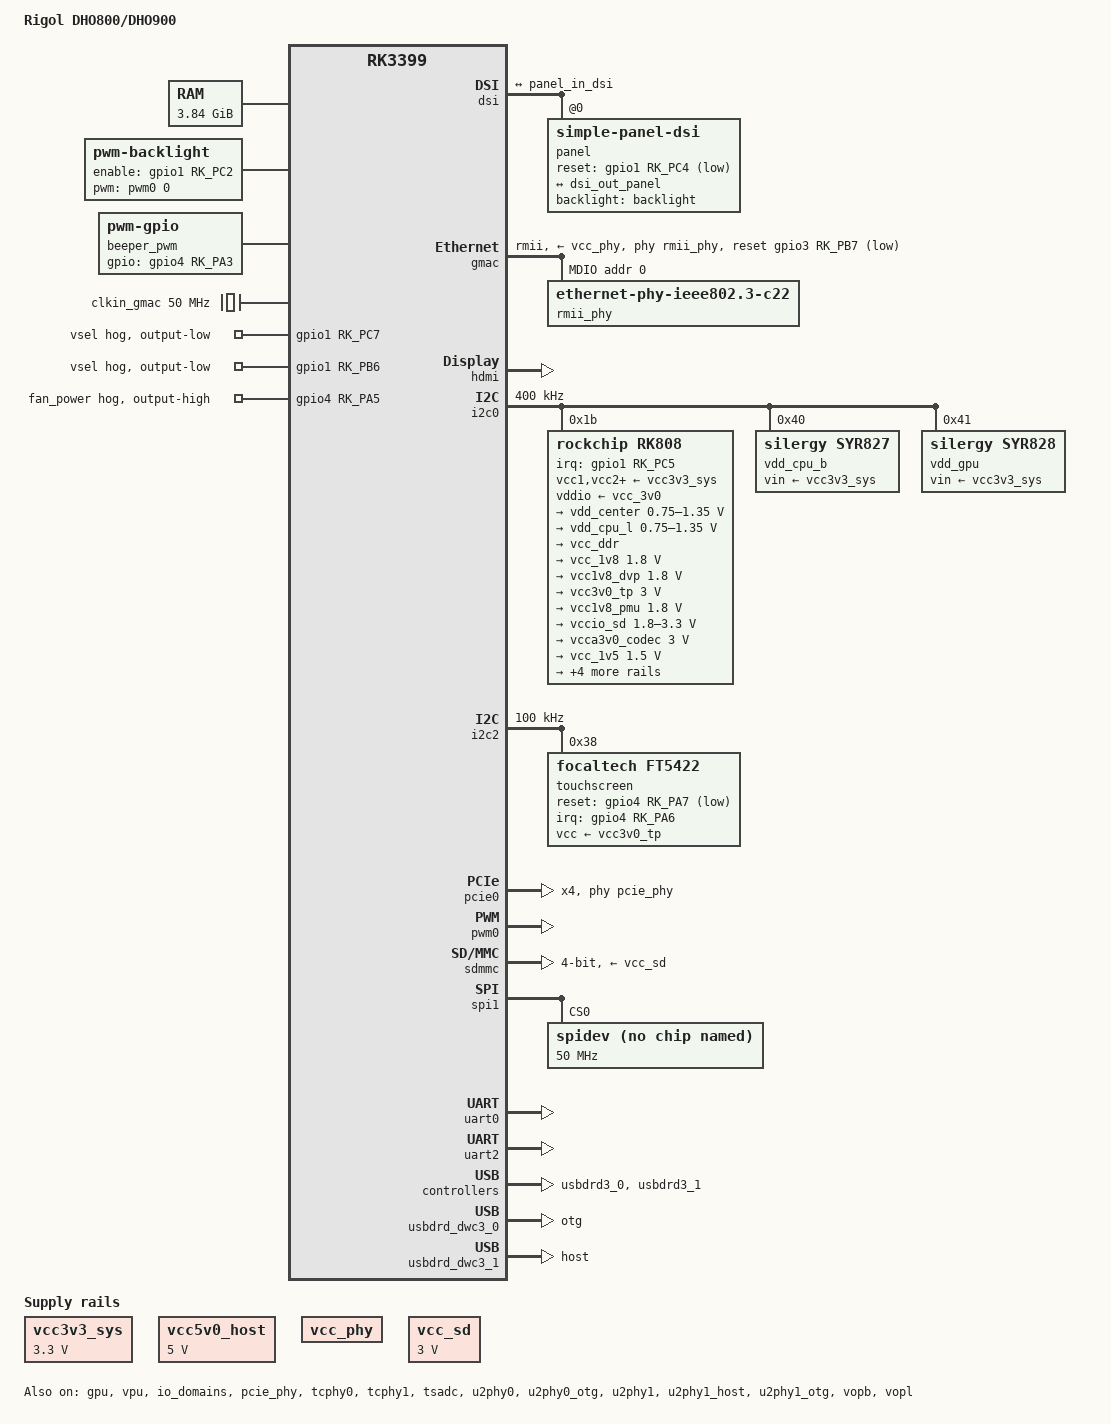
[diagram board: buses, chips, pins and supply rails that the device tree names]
// SPDX-License-Identifier: (GPL-2.0+ OR MIT)
/*
 * Copyright (C) 2026 Julian Decker
 *
 * Rigol DHO800/DHO900 oscilloscope main board (RK3399).
 */

/dts-v1/;

#include <dt-bindings/display/drm_mipi_dsi.h>
#include "rk3399.dtsi"

/*
 * Peripherals on GPLL, so CPLL and VPLL stay free for the two VOPs. This is the
 * clock plan of the stock system.
 */
#define RK3399_TWO_PLL_FOR_VOP
#include "rk3399-vop-clk-set.dtsi"

/*
 * Video and camera blocks: nothing on this board uses them, except the VPU's JPEG encoder (Hantro, V4L2) for the live
 * picture of the web remote. Its registers are shared with the BSP's vepu/vdpu nodes, which stay deleted.
 */
/delete-node/ &mpp_srv;
/delete-node/ &vepu;
/delete-node/ &vdpu;
/delete-node/ &vdec;
/delete-node/ &rkvdec;
/delete-node/ &vdec_mmu;
/delete-node/ &iep;
/delete-node/ &iep_mmu;
/delete-node/ &rga;
/delete-node/ &rkisp1_0;
/delete-node/ &rkisp1_1;
/delete-node/ &isp0;
/delete-node/ &isp1;
/delete-node/ &isp0_mmu;
/delete-node/ &isp1_mmu;
/delete-node/ &mipi_dphy_rx0;
/delete-node/ &mipi_dphy_tx1rx1;

/ {
	model = "Rigol DHO800/DHO900";
	compatible = "rigol,dho900", "rockchip,rk3399";

	aliases {
		/* The card holds the system and the tools expect it as mmcblk0. */
		mmc0 = &sdmmc;
		mmc1 = &sdhci;
		/* Fixes the bus number, so the FPGA boot port is /dev/spidev1.0. */
		spi1 = &spi1;
	};

	chosen {
		bootargs = "earlycon=uart8250,mmio32,0xff1a0000 console=ttyS2,115200n8 panic=10 rootwait";
		stdout-path = "serial2:115200n8";
	};

	/* The gap between the two banks is the trust OS region. */
	memory {
		device_type = "memory";
		reg = <0x0 0x00200000 0x0 0x08200000>,
		      <0x0 0x0a200000 0x0 0xede00000>;
	};

	reserved-memory {
		#address-cells = <2>;
		#size-cells = <2>;
		ranges;

		drm_logo: drm-logo@0 {
			compatible = "rockchip,drm-logo";
			reg = <0x0 0x0 0x0 0x0>;
		};

		ramoops@110000 {
			compatible = "ramoops";
			reg = <0x0 0x110000 0x0 0xe0000>;
			record-size = <0x20000>;
			console-size = <0x80000>;
			ftrace-size = <0x0>;
			pmsg-size = <0x40000>;
		};

		trust-os@8400000 {
			reg = <0x0 0x08400000 0x0 0x01e00000>;
			no-map;
		};
	};

	backlight: backlight {
		compatible = "pwm-backlight";
		pwms = <&pwm0 0 25000 0>;
		enable-gpios = <&gpio1 RK_PC2 GPIO_ACTIVE_HIGH>;
		num-interpolated-steps = <255>;
		brightness-levels = <0 255>;
		default-brightness-level = <255>;
	};

	/*
	 * The hal looks the pwmchip up by the name of its device, so this node
	 * must keep the name "pwm-gpio".
	 */
	beeper_pwm: pwm-gpio {
		compatible = "pwm-gpio";
		gpios = <&gpio4 RK_PA3 GPIO_ACTIVE_HIGH>;
		#pwm-cells = <3>;
	};

	clkin_gmac: external-gmac-clock {
		compatible = "fixed-clock";
		clock-frequency = <50000000>;
		clock-output-names = "clkin_gmac";
		#clock-cells = <0>;
	};

	/*
	 * On/off only and no tachometer, so the speed is nominal. Disabled
	 * because fan-power-hog in &gpio4 owns the line, see there.
	 */
	fan: gpio-fan {
		compatible = "gpio-fan";
		gpios = <&gpio4 RK_PA5 GPIO_ACTIVE_HIGH>;
		gpio-fan,speed-map = <0 0>, <3000 1>;
		#cooling-cells = <2>;
		status = "disabled";
	};

	vcc3v3_sys: vcc3v3-sys {
		compatible = "regulator-fixed";
		regulator-name = "vcc3v3_sys";
		regulator-always-on;
		regulator-boot-on;
		regulator-min-microvolt = <3300000>;
		regulator-max-microvolt = <3300000>;
	};

	vcc5v0_host: vcc5v0-host-regulator {
		compatible = "regulator-fixed";
		regulator-name = "vcc5v0_host";
		regulator-always-on;
		regulator-boot-on;
		regulator-min-microvolt = <5000000>;
		regulator-max-microvolt = <5000000>;
	};

	vcc_phy: vcc-phy-regulator {
		compatible = "regulator-fixed";
		regulator-name = "vcc_phy";
		regulator-always-on;
		regulator-boot-on;
	};

	vcc_sd: vcc-sd {
		compatible = "regulator-fixed";
		regulator-name = "vcc_sd";
		regulator-always-on;
		regulator-boot-on;
		regulator-min-microvolt = <3000000>;
		regulator-max-microvolt = <3000000>;
	};
};

&cpu_l0 {
	cpu-supply = <&vdd_cpu_l>;
};

&cpu_l1 {
	cpu-supply = <&vdd_cpu_l>;
};

&cpu_l2 {
	cpu-supply = <&vdd_cpu_l>;
};

&cpu_l3 {
	cpu-supply = <&vdd_cpu_l>;
};

&cpu_b0 {
	cpu-supply = <&vdd_cpu_b>;
};

&cpu_b1 {
	cpu-supply = <&vdd_cpu_b>;
};

/*
 * Extra voltages for the "J" bin of the RK3399. They apply only if the efuse
 * says bin 2, which the opp tables of the BSP do not handle.
 */
&cluster0_opp {
	rockchip,bin-scaling-sel = <0 30>, <1 34>, <2 46>;
	rockchip,bin-voltage-sel = <2 20>;

	opp-408000000 {
		opp-microvolt-L20 = <875000 875000 1250000>;
	};

	opp-600000000 {
		opp-microvolt-L20 = <875000 875000 1250000>;
	};

	opp-816000000 {
		opp-microvolt-L20 = <900000 900000 1250000>;
	};

	opp-1008000000 {
		opp-microvolt-L20 = <975000 975000 1250000>;
	};
};

&cluster1_opp {
	rockchip,bin-scaling-sel = <0 8>, <1 17>, <2 30>;
	rockchip,bin-voltage-sel = <2 20>;

	opp-408000000 {
		opp-microvolt-L20 = <875000 875000 1250000>;
	};

	opp-600000000 {
		opp-microvolt-L20 = <875000 875000 1250000>;
	};

	opp-816000000 {
		opp-microvolt-L20 = <875000 875000 1250000>;
	};

	opp-1008000000 {
		opp-microvolt-L20 = <925000 925000 1250000>;
	};

	opp-1200000000 {
		opp-microvolt-L20 = <1000000 1000000 1250000>;
	};

	opp-1416000000 {
		opp-microvolt-L20 = <1075000 1075000 1250000>;
	};
};

&display_subsystem {
	ports = <&vopb_out>, <&vopl_out>;
	logo-memory-region = <&drm_logo>;

	route {
		route-dsi {
			connect = <&vopl_out_dsi>;
			logo,uboot = "logo.bmp";
			logo,kernel = "logo_kernel.bmp";
			logo,mode = "center";
			charge_logo,mode = "center";
		};

		route-hdmi {
			connect = <&vopb_out_hdmi>;
			logo,uboot = "logo.bmp";
			logo,kernel = "logo_kernel.bmp";
			logo,mode = "center";
			charge_logo,mode = "center";
		};
	};
};

/* The panel stays on the little VOP and HDMI on the big one. */
&dsi_in_vopb {
	status = "disabled";
};

&hdmi_in_vopl {
	status = "disabled";
};

&dsi {
	status = "okay";

	/* The panel ID 93 65 04 makes this a Jadard JD9365. */
	panel: panel@0 {
		compatible = "simple-panel-dsi";
		reg = <0>;
		backlight = <&backlight>;
		reset-gpios = <&gpio1 RK_PC4 GPIO_ACTIVE_LOW>;
		prepare-delay-ms = <10>;
		reset-delay-ms = <20>;
		init-delay-ms = <10>;
		enable-delay-ms = <120>;
		unprepare-delay-ms = <120>;
		dsi,flags = <(MIPI_DSI_MODE_VIDEO | MIPI_DSI_MODE_VIDEO_BURST |
			      MIPI_DSI_MODE_VIDEO_NO_HBP | MIPI_DSI_MODE_NO_EOT_PACKET |
			      MIPI_DSI_MODE_LPM)>;
		dsi,format = <MIPI_DSI_FMT_RGB888>;
		dsi,lanes = <4>;

		/*
		 * Each entry is: data type, delay in ms, length, payload.
		 * Register E0 selects a page, so a block starts at each page.
		 */
		panel-init-sequence = [
			15 00 02 e0 00  15 00 02 e1 93  15 00 02 e2 65  15 00 02 e3 f8
			15 00 02 80 03

			15 00 02 e0 01  15 00 02 00 00  15 00 02 01 25  15 00 02 03 00
			15 00 02 04 30  15 00 02 0c 74  15 00 02 17 00  15 00 02 18 c7
			15 00 02 19 01  15 00 02 1a 00  15 00 02 1b c7  15 00 02 1c 01
			15 00 02 24 fe  15 00 02 37 19  15 00 02 35 28  15 00 02 38 05
			15 00 02 39 08  15 00 02 3a 12  15 00 02 3c 7e  15 00 02 3d ff
			15 00 02 3e ff  15 00 02 3f 7f  15 00 02 40 06  15 00 02 41 a0
			15 00 02 43 1e  15 00 02 44 0b  15 00 02 55 02  15 00 02 57 6a
			15 00 02 59 0a  15 00 02 5a 2e  15 00 02 5b 1a  15 00 02 5c 15
			15 00 02 5d 7f  15 00 02 5e 61  15 00 02 5f 50  15 00 02 60 43
			15 00 02 61 3f  15 00 02 62 32  15 00 02 63 35  15 00 02 64 1f
			15 00 02 65 38  15 00 02 66 36  15 00 02 67 36  15 00 02 68 54
			15 00 02 69 42  15 00 02 6a 48  15 00 02 6b 39  15 00 02 6c 34
			15 00 02 6d 26  15 00 02 6e 14  15 00 02 6f 02  15 00 02 70 7f
			15 00 02 71 61  15 00 02 72 50  15 00 02 73 43  15 00 02 74 3f
			15 00 02 75 32  15 00 02 76 35  15 00 02 77 1f  15 00 02 78 38
			15 00 02 79 36  15 00 02 7a 36  15 00 02 7b 54  15 00 02 7c 42
			15 00 02 7d 48  15 00 02 7e 39  15 00 02 7f 34  15 00 02 80 26
			15 00 02 81 14  15 00 02 82 02

			15 00 02 e0 02  15 00 02 00 52  15 00 02 01 5f  15 00 02 02 5f
			15 00 02 03 50  15 00 02 04 77  15 00 02 05 57  15 00 02 06 5f
			15 00 02 07 4e  15 00 02 08 4c  15 00 02 09 5f  15 00 02 0a 4a
			15 00 02 0b 48  15 00 02 0c 5f  15 00 02 0d 46  15 00 02 0e 44
			15 00 02 0f 40  15 00 02 10 5f  15 00 02 11 5f  15 00 02 12 5f
			15 00 02 13 5f  15 00 02 14 5f  15 00 02 15 5f  15 00 02 16 53
			15 00 02 17 5f  15 00 02 18 5f  15 00 02 19 51  15 00 02 1a 77
			15 00 02 1b 57  15 00 02 1c 5f  15 00 02 1d 4f  15 00 02 1e 4d
			15 00 02 1f 5f  15 00 02 20 4b  15 00 02 21 49  15 00 02 22 5f
			15 00 02 23 47  15 00 02 24 45  15 00 02 25 41  15 00 02 26 5f
			15 00 02 27 5f  15 00 02 28 5f  15 00 02 29 5f  15 00 02 2a 5f
			15 00 02 2b 5f  15 00 02 2c 13  15 00 02 2d 1f  15 00 02 2e 1f
			15 00 02 2f 01  15 00 02 30 17  15 00 02 31 17  15 00 02 32 1f
			15 00 02 33 0d  15 00 02 34 0f  15 00 02 35 1f  15 00 02 36 05
			15 00 02 37 07  15 00 02 38 1f  15 00 02 39 09  15 00 02 3a 0b
			15 00 02 3b 11  15 00 02 3c 1f  15 00 02 3d 1f  15 00 02 3e 1f
			15 00 02 3f 1f  15 00 02 40 1f  15 00 02 41 1f  15 00 02 42 12
			15 00 02 43 1f  15 00 02 44 1f  15 00 02 45 00  15 00 02 46 17
			15 00 02 47 17  15 00 02 48 1f  15 00 02 49 0c  15 00 02 4a 0e
			15 00 02 4b 1f  15 00 02 4c 04  15 00 02 4d 06  15 00 02 4e 1f
			15 00 02 4f 08  15 00 02 50 0a  15 00 02 51 10  15 00 02 52 1f
			15 00 02 53 1f  15 00 02 54 1f  15 00 02 55 1f  15 00 02 56 1f
			15 00 02 57 1f  15 00 02 58 40  15 00 02 5b 10  15 00 02 5c 06
			15 00 02 5d 40  15 00 02 5e 00  15 00 02 5f 00  15 00 02 60 40
			15 00 02 61 03  15 00 02 62 04  15 00 02 63 6c  15 00 02 64 6c
			15 00 02 65 75  15 00 02 66 08  15 00 02 67 b4  15 00 02 68 08
			15 00 02 69 6c  15 00 02 6a 6c  15 00 02 6b 0c  15 00 02 6d 00
			15 00 02 6e 00  15 00 02 6f 88  15 00 02 75 bb  15 00 02 76 00
			15 00 02 77 05  15 00 02 78 2a

			15 00 02 e0 04  15 00 02 00 0e  15 00 02 02 b3  15 00 02 09 61
			15 00 02 0e 48

			15 00 02 e0 00  15 00 02 35 00  05 96 01 11  05 32 01 29
		];

		panel-exit-sequence = [
			05 32 01 28  05 64 01 10
		];

		display-timings {
			native-mode = <&panel_timing>;

			panel_timing: timing0 {
				clock-frequency = <68000000>;
				hactive = <1024>;
				vactive = <600>;
				hback-porch = <20>;
				hfront-porch = <20>;
				hsync-len = <20>;
				vback-porch = <10>;
				vfront-porch = <30>;
				vsync-len = <4>;
				hsync-active = <0>;
				vsync-active = <0>;
				de-active = <0>;
				pixelclk-active = <0>;
			};
		};

		port {
			panel_in_dsi: endpoint {
				remote-endpoint = <&dsi_out_panel>;
			};
		};
	};

	ports {
		port@1 {
			reg = <1>;

			dsi_out_panel: endpoint {
				remote-endpoint = <&panel_in_dsi>;
			};
		};
	};
};

&emmc_phy {
	status = "disabled";
};

&gmac {
	assigned-clocks = <&cru SCLK_RMII_SRC>;
	assigned-clock-parents = <&clkin_gmac>;
	clock_in_out = "input";
	phy-mode = "rmii";
	phy-supply = <&vcc_phy>;
	pinctrl-names = "default";
	pinctrl-0 = <&rmii_pins>;
	snps,reset-gpio = <&gpio3 RK_PB7 GPIO_ACTIVE_LOW>;
	snps,reset-active-low;
	snps,reset-delays-us = <0 10000 50000>;
	phy-handle = <&rmii_phy>;
	tx_delay = <0x1e>;
	rx_delay = <0x16>;
	status = "okay";

	mdio {
		compatible = "snps,dwmac-mdio";
		#address-cells = <1>;
		#size-cells = <0>;

		rmii_phy: ethernet-phy@0 {
			compatible = "ethernet-phy-ieee802.3-c22";
			reg = <0>;
		};
	};
};

/*
 * The hal opens these lines by name, each row is one port, A to D. No pin in
 * here may go to a peripheral.
 */
&gpio0 {
	gpio-line-names =
		"", "", "spi_sdio", "spi_sclk", "hd_code0", "", "spi_le", "",
		"hd_code1", "", "", "hd_code2", "hd_code3", "", "", "",
		"", "", "", "", "", "", "", "",
		"", "", "", "", "", "", "", "";
};

/*
 * The regulator driver ignores the VSEL pins, so the hogs hold both chips on
 * their first voltage register.
 */
&gpio1 {
	vsel1-hog {
		gpio-hog;
		gpios = <RK_PC7 GPIO_ACTIVE_HIGH>;
		output-low;
		line-name = "vsel";
	};

	vsel2-hog {
		gpio-hog;
		gpios = <RK_PB6 GPIO_ACTIVE_HIGH>;
		output-low;
		line-name = "vsel";
	};
};

&gpio2 {
	gpio-line-names =
		"", "", "spi_afe_cs_1", "", "spi_afe_cs_3", "spi_afe_cs_2", "", "",
		"", "spi_afe_miso", "spi_afe_mosi", "spi_afe_sclk", "spi_afe_cs_0", "", "", "",
		"", "", "", "", "", "", "", "",
		"", "", "", "", "", "", "", "";
};

&gpio3 {
	gpio-line-names =
		"", "", "", "", "", "", "", "",
		"", "", "", "", "", "", "", "",
		"", "", "", "", "", "", "", "",
		"LA_PROBE_DETECT", "", "afg_in1", "afg_in2", "afg_in3", "afg_in4", "afg_in5", "";
};

&gpio4 {
	gpio-line-names =
		"", "", "", "PWM_GPIO", "", "fan_power", "", "",
		"", "", "", "", "", "", "", "",
		"", "", "", "", "", "FG_M2C_GPIO", "", "",
		"", "afe1", "afe2", "", "", "afe3", "afe4", "";

	/*
	 * The fan must run from the probe of gpio4 on, with no driver or daemon
	 * behind it: on this board nothing reports the FPGA temperature, so a
	 * stopped fan would go unnoticed.
	 */
	fan-power-hog {
		gpio-hog;
		gpios = <RK_PA5 GPIO_ACTIVE_HIGH>;
		output-high;
		line-name = "fan_power";
	};
};

/*
 * GPU (Mali-T860) for the upstream Panfrost driver: the Rockchip node names only the vendor's Mali driver. Its
 * frequency steps are those of rk3399-opp.dtsi, up to 600 MHz.
 */
&gpu {
	compatible = "rockchip,rk3399-mali", "arm,mali-t860";
	mali-supply = <&vdd_gpu>;
	status = "okay";
};

&gpu_opp_table {
	/delete-node/ opp-800000000;
};

/* VPU (Hantro, upstream driver): its JPEG encoder makes the live picture of the web remote. */
&vpu {
	status = "okay";
};

&vpu_mmu {
	status = "okay";
};

&hdmi {
	ddc-i2c-scl-high-time-ns = <9625>;
	ddc-i2c-scl-low-time-ns = <10000>;
	status = "okay";
};

&i2c0 {
	clock-frequency = <400000>;
	i2c-scl-rising-time-ns = <160>;
	i2c-scl-falling-time-ns = <30>;
	status = "okay";

	rk808: pmic@1b {
		compatible = "rockchip,rk808";
		reg = <0x1b>;
		interrupt-parent = <&gpio1>;
		interrupts = <RK_PC5 IRQ_TYPE_LEVEL_LOW>;
		pinctrl-names = "default";
		pinctrl-0 = <&pmic_int_l>;
		rockchip,system-power-controller;
		wakeup-source;
		#clock-cells = <1>;
		clock-output-names = "xin32k", "rk808-clkout2";

		vcc1-supply = <&vcc3v3_sys>;
		vcc2-supply = <&vcc3v3_sys>;
		vcc3-supply = <&vcc3v3_sys>;
		vcc4-supply = <&vcc3v3_sys>;
		vcc6-supply = <&vcc3v3_sys>;
		vcc7-supply = <&vcc3v3_sys>;
		vcc8-supply = <&vcc3v3_sys>;
		vcc9-supply = <&vcc3v3_sys>;
		vcc10-supply = <&vcc3v3_sys>;
		vcc11-supply = <&vcc3v3_sys>;
		vcc12-supply = <&vcc3v3_sys>;
		vddio-supply = <&vcc_3v0>;

		regulators {
			vdd_center: DCDC_REG1 {
				regulator-name = "vdd_center";
				regulator-always-on;
				regulator-boot-on;
				regulator-min-microvolt = <750000>;
				regulator-max-microvolt = <1350000>;
				regulator-ramp-delay = <6001>;

				regulator-state-mem {
					regulator-off-in-suspend;
				};
			};

			vdd_cpu_l: DCDC_REG2 {
				regulator-name = "vdd_cpu_l";
				regulator-always-on;
				regulator-boot-on;
				regulator-min-microvolt = <750000>;
				regulator-max-microvolt = <1350000>;
				regulator-ramp-delay = <6001>;

				regulator-state-mem {
					regulator-off-in-suspend;
				};
			};

			vcc_ddr: DCDC_REG3 {
				regulator-name = "vcc_ddr";
				regulator-always-on;
				regulator-boot-on;

				regulator-state-mem {
					regulator-on-in-suspend;
				};
			};

			vcc_1v8: DCDC_REG4 {
				regulator-name = "vcc_1v8";
				regulator-always-on;
				regulator-boot-on;
				regulator-min-microvolt = <1800000>;
				regulator-max-microvolt = <1800000>;

				regulator-state-mem {
					regulator-on-in-suspend;
					regulator-suspend-microvolt = <1800000>;
				};
			};

			vcc1v8_dvp: LDO_REG1 {
				regulator-name = "vcc1v8_dvp";
				regulator-always-on;
				regulator-boot-on;
				regulator-min-microvolt = <1800000>;
				regulator-max-microvolt = <1800000>;

				regulator-state-mem {
					regulator-off-in-suspend;
				};
			};

			vcc3v0_tp: LDO_REG2 {
				regulator-name = "vcc3v0_tp";
				regulator-always-on;
				regulator-boot-on;
				regulator-min-microvolt = <3000000>;
				regulator-max-microvolt = <3000000>;

				regulator-state-mem {
					regulator-off-in-suspend;
				};
			};

			vcc1v8_pmu: LDO_REG3 {
				regulator-name = "vcc1v8_pmu";
				regulator-always-on;
				regulator-boot-on;
				regulator-min-microvolt = <1800000>;
				regulator-max-microvolt = <1800000>;

				regulator-state-mem {
					regulator-on-in-suspend;
					regulator-suspend-microvolt = <1800000>;
				};
			};

			vccio_sd: LDO_REG4 {
				regulator-name = "vccio_sd";
				regulator-always-on;
				regulator-boot-on;
				regulator-min-microvolt = <1800000>;
				regulator-max-microvolt = <3300000>;

				regulator-state-mem {
					regulator-on-in-suspend;
					regulator-suspend-microvolt = <3000000>;
				};
			};

			vcca3v0_codec: LDO_REG5 {
				regulator-name = "vcca3v0_codec";
				regulator-always-on;
				regulator-boot-on;
				regulator-min-microvolt = <3000000>;
				regulator-max-microvolt = <3000000>;

				regulator-state-mem {
					regulator-off-in-suspend;
				};
			};

			vcc_1v5: LDO_REG6 {
				regulator-name = "vcc_1v5";
				regulator-always-on;
				regulator-boot-on;
				regulator-min-microvolt = <1500000>;
				regulator-max-microvolt = <1500000>;

				regulator-state-mem {
					regulator-on-in-suspend;
					regulator-suspend-microvolt = <1500000>;
				};
			};

			vcca1v8_codec: LDO_REG7 {
				regulator-name = "vcca1v8_codec";
				regulator-always-on;
				regulator-boot-on;
				regulator-min-microvolt = <1800000>;
				regulator-max-microvolt = <1800000>;

				regulator-state-mem {
					regulator-off-in-suspend;
				};
			};

			vcc_3v0: LDO_REG8 {
				regulator-name = "vcc_3v0";
				regulator-always-on;
				regulator-boot-on;
				regulator-min-microvolt = <3000000>;
				regulator-max-microvolt = <3000000>;

				regulator-state-mem {
					regulator-on-in-suspend;
					regulator-suspend-microvolt = <3000000>;
				};
			};

			vcc3v3_s3: SWITCH_REG1 {
				regulator-name = "vcc3v3_s3";
				regulator-always-on;
				regulator-boot-on;

				regulator-state-mem {
					regulator-off-in-suspend;
				};
			};

			vcc3v3_s0: SWITCH_REG2 {
				regulator-name = "vcc3v3_s0";
				regulator-always-on;
				regulator-boot-on;

				regulator-state-mem {
					regulator-off-in-suspend;
				};
			};
		};
	};

	vdd_cpu_b: regulator@40 {
		compatible = "silergy,syr827";
		reg = <0x40>;
		vin-supply = <&vcc3v3_sys>;
		pinctrl-names = "default";
		pinctrl-0 = <&vsel1_gpio>;
		regulator-name = "vdd_cpu_b";
		regulator-always-on;
		regulator-boot-on;
		regulator-min-microvolt = <712500>;
		regulator-max-microvolt = <1500000>;
		regulator-ramp-delay = <1000>;
		fcs,suspend-voltage-selector = <1>;

		regulator-state-mem {
			regulator-off-in-suspend;
		};
	};

	vdd_gpu: regulator@41 {
		compatible = "silergy,syr828";
		reg = <0x41>;
		vin-supply = <&vcc3v3_sys>;
		pinctrl-names = "default";
		pinctrl-0 = <&vsel2_gpio>;
		regulator-name = "vdd_gpu";
		regulator-always-on;
		regulator-boot-on;
		regulator-min-microvolt = <712500>;
		regulator-max-microvolt = <1500000>;
		regulator-ramp-delay = <1000>;
		fcs,suspend-voltage-selector = <1>;

		regulator-state-mem {
			regulator-off-in-suspend;
		};
	};
};

&i2c2 {
	clock-frequency = <100000>;
	i2c-scl-rising-time-ns = <160>;
	i2c-scl-falling-time-ns = <30>;
	status = "okay";

	touchscreen@38 {
		compatible = "focaltech,ft5422";
		reg = <0x38>;
		interrupt-parent = <&gpio4>;
		interrupts = <RK_PA6 IRQ_TYPE_EDGE_FALLING>;
		reset-gpios = <&gpio4 RK_PA7 GPIO_ACTIVE_LOW>;
		vcc-supply = <&vcc3v0_tp>;
		touchscreen-size-x = <1024>;
		touchscreen-size-y = <600>;
	};
};

&io_domains {
	audio-supply = <&vcc_3v0>;
	bt656-supply = <&vcc_3v0>;
	gpio1830-supply = <&vcc_3v0>;
	sdmmc-supply = <&vccio_sd>;
	status = "okay";
};

/* One phy for the whole link, as under stock: the FPGA trains two of the lanes. */
&pcie_phy {
	#phy-cells = <0>;
	assigned-clocks = <&cru SCLK_PCIEPHY_REF>;
	assigned-clock-parents = <&cru SCLK_PCIEPHY_REF100M>;
	assigned-clock-rates = <100000000>;
	status = "okay";
};

/*
 * The FPGA comes up on PCIe only after its boot over spi1, so the host driver
 * is a module that may be removed and loaded again: the fixed domain keeps
 * the endpoint at 0000:01:00.0 through that.
 */
&pcie0 {
	ep-gpios = <&gpio2 RK_PC2 GPIO_ACTIVE_HIGH>;
	linux,pci-domain = <0>;
	max-link-speed = <2>;
	num-lanes = <4>;
	phys = <&pcie_phy>;
	phy-names = "pcie-phy";
	status = "okay";
};

&pinctrl {
	/* Pin hogs, so these pulls hold before any driver or the hal runs. */
	pinctrl-names = "default";
	pinctrl-0 = <&pcie_perst_float &afe_spi_pins>;

	afe-spi {
		afe_spi_pins: afe-spi-pins {
			rockchip,pins =
				<2 RK_PB1 RK_FUNC_GPIO &pcfg_pull_up>,
				<2 RK_PB2 RK_FUNC_GPIO &pcfg_pull_up>,
				<2 RK_PB3 RK_FUNC_GPIO &pcfg_pull_up>,
				<2 RK_PB4 RK_FUNC_GPIO &pcfg_pull_up>;
		};
	};

	pcie {
		/* PERST# has no pull until the host driver takes the pin. */
		pcie_perst_float: pcie-perst-float {
			rockchip,pins = <2 RK_PC2 RK_FUNC_GPIO &pcfg_pull_none>;
		};
	};

	pmic {
		pmic_int_l: pmic-int-l {
			rockchip,pins = <1 RK_PC5 RK_FUNC_GPIO &pcfg_pull_up>;
		};

		vsel1_gpio: vsel1-gpio {
			rockchip,pins = <1 RK_PC7 RK_FUNC_GPIO &pcfg_pull_down>;
		};

		vsel2_gpio: vsel2-gpio {
			rockchip,pins = <1 RK_PB6 RK_FUNC_GPIO &pcfg_pull_down>;
		};
	};
};

&pmu_io_domains {
	pmu1830-supply = <&vcc_3v0>;
	status = "okay";
};

&pwm0 {
	status = "okay";
};

/* Its pin GPIO0_A6 is the latch of the sample clock PLL, spi_le. */
&pwm3 {
	status = "disabled";
};

/* The stock loader has no panic flag, see docs/boot.md. */
&reboot_mode {
	mode-bootloader = <BOOT_BL_DOWNLOAD>;
	/delete-property/ mode-panic;
};

&sdhci {
	bus-width = <8>;
	mmc-hs400-1_8v;
	mmc-hs400-enhanced-strobe;
	no-sd;
	no-sdio;
	non-removable;
	status = "disabled";
};

&sdmmc {
	bus-width = <4>;
	cap-mmc-highspeed;
	cap-sd-highspeed;
	disable-wp;
	pinctrl-names = "default";
	pinctrl-0 = <&sdmmc_clk &sdmmc_cmd &sdmmc_cd &sdmmc_bus4>;
	vmmc-supply = <&vcc_sd>;
	vqmmc-supply = <&vccio_sd>;
	status = "okay";
};

/* Boot monitor of the FPGA, driven from user space. */
&spi1 {
	status = "okay";

	spidev@0 {
		compatible = "rockchip,spidev";
		reg = <0>;
		spi-max-frequency = <50000000>;
	};
};

/* Its pins are the AFE bus, bit-banged as the spi_afe_* GPIO lines. */
&spi2 {
	status = "disabled";
};

&tcphy0 {
	status = "okay";
};

&tcphy1 {
	status = "okay";
};

&tsadc {
	rockchip,hw-tshut-mode = <1>;
	rockchip,hw-tshut-polarity = <1>;
	rockchip,hw-tshut-temp = <120000>;
	status = "okay";
};

&u2phy0 {
	status = "okay";
};

&u2phy0_otg {
	status = "okay";
};

&u2phy1 {
	status = "okay";
};

&u2phy1_host {
	phy-supply = <&vcc5v0_host>;
	status = "okay";
};

&u2phy1_otg {
	status = "okay";
};

/*
 * Front panel link. GPIO2_C2, the CTS pin, is PCIe PERST#, so only the
 * RX and TX pins of the default pinctrl may be used here.
 */
&uart0 {
	status = "okay";
};

&uart2 {
	status = "okay";
};

&usbdrd3_0 {
	status = "okay";
};

&usbdrd_dwc3_0 {
	dr_mode = "otg";
	extcon = <&u2phy0>;
	maximum-speed = "high-speed";
	status = "okay";
};

&usbdrd3_1 {
	status = "okay";
};

&usbdrd_dwc3_1 {
	dr_mode = "host";
	status = "okay";
};

&vopb {
	assigned-clocks = <&cru DCLK_VOP0_DIV>;
	assigned-clock-parents = <&cru PLL_VPLL>;
	status = "okay";
};

&vopb_mmu {
	status = "okay";
};

&vopl {
	status = "okay";
};

&vopl_mmu {
	status = "okay";
};
